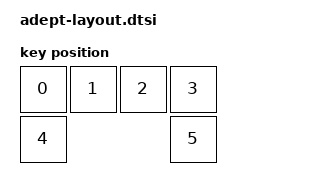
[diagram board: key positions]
#include <physical_layouts.dtsi>

/ {
    adept_layout: adept_layout {
        compatible = "zmk,physical-layout";
        display-name = "Default";

        keys  //                     w   h    x    y     rot    rx    ry
            = <&key_physical_attrs 100 100    0    0       0     0     0>
            , <&key_physical_attrs 100 100  100    0       0     0     0>
            , <&key_physical_attrs 100 100  200    0       0     0     0>
            , <&key_physical_attrs 100 100  300    0       0     0     0>
            , <&key_physical_attrs 100 100    0  100       0     0     0>
            , <&key_physical_attrs 100 100  300  100       0     0     0>
            ;
    };
};
